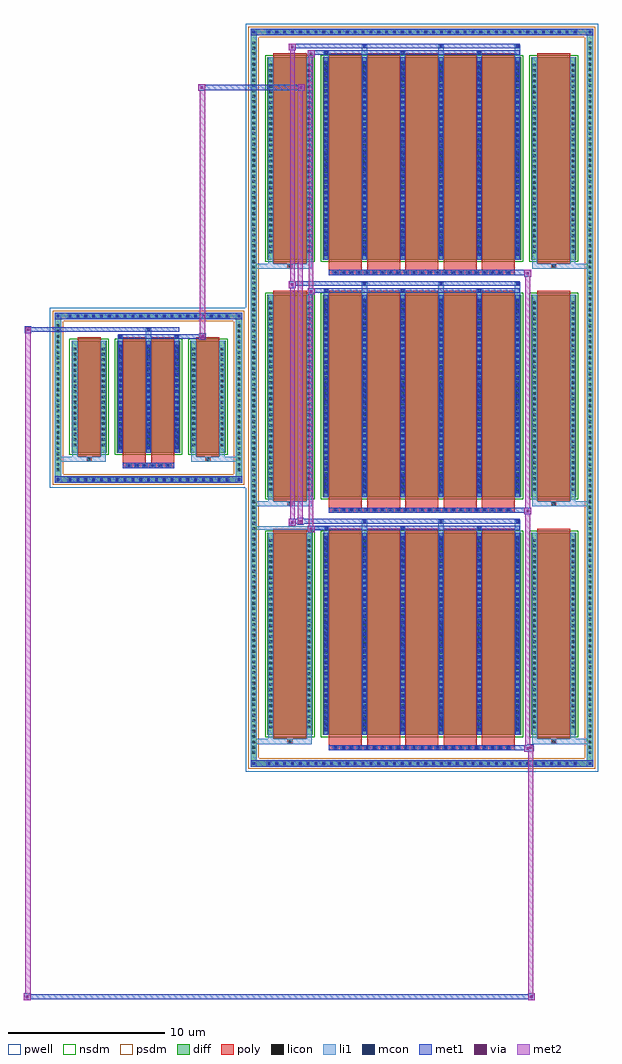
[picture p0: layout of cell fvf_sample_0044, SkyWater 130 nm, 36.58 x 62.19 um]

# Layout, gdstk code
import gdstk
lib = gdstk.Library(unit=1e-6, precision=1e-09)
def R(c, l, rs):  # rectangles x0, y0, x1, y1
    for r in rs: c.add(gdstk.rectangle(r[:2], r[2:], *l))
def A(c, l, x, y, w, h, nx, ny, dx, dy):  # array of equal rectangles
    R(c, l, [(x+i*dx, y+j*dy, x+i*dx+w, y+j*dy+h) for i in range(nx) for j in range(ny)])
def P(c, l, *ps):  # polygons
    for p in ps: c.add(gdstk.Polygon(p, *l))
pwell = (64, 44)
diff = (65, 20)
poly = (66, 20)
licon = (66, 44)
li1 = (67, 20)
mcon = (67, 44)
met1 = (68, 20)
via = (68, 44)
met2 = (69, 20)
nsdm = (93, 44)
psdm = (94, 20)

fvf_sample_0044 = lib.new_cell('fvf_sample_0044')
R(fvf_sample_0044, pwell, [(6.187,-23.816,28.643,23.816), (-6.287,-5.734,6.287,5.734)])
A(fvf_sample_0044, diff, 7.46, -23.506, 0.41, 0.41, 40, 2, 0.5, 46.602)
A(fvf_sample_0044, diff, 6.497, -22.815, 0.41, 0.41, 1, 134, 0, 0.34)
A(fvf_sample_0044, diff, 27.923, -22.815, 0.41, 0.41, 1, 134, 0, 0.34)
A(fvf_sample_0044, diff, 7.567, -21.485, 2.888, 12.898, 1, 3, 0, 15.144)
A(fvf_sample_0044, diff, 11.095, -21.485, 12.64, 12.898, 1, 3, 0, 15.144)
A(fvf_sample_0044, diff, 24.375, -21.485, 2.888, 12.898, 1, 3, 0, 15.144)
A(fvf_sample_0044, diff, -5.205, -5.424, 0.41, 0.41, 21, 2, 0.5, 10.438)
A(fvf_sample_0044, diff, -5.977, -4.795, 0.41, 0.41, 1, 28, 0, 0.34)
A(fvf_sample_0044, diff, 5.567, -4.795, 0.41, 0.41, 1, 28, 0, 0.34)
R(fvf_sample_0044, diff, [(7.46,-23.506,27.37,-23.096), (6.497,-22.815,6.907,22.815), (27.923,-22.815,28.333,22.815), (-5.205,-5.424,5.205,-5.014), (-5.977,-4.795,-5.567,4.795), (5.567,-4.795,5.977,4.795), (-4.907,-3.503,-2.661,3.619), (-2.021,-3.503,2.021,3.619), (2.661,-3.503,4.907,3.619), (-5.205,5.014,5.205,5.424), (7.46,23.096,27.37,23.506)])
P(fvf_sample_0044, diff, [(5.977,5.424),(-5.977,5.424),(-5.977,-5.014),(-5.567,-5.014),(-5.567,5.014),(5.567,5.014),(5.567,-5.014),(-5.567,-5.014),(-5.977,-5.014),(-5.977,-5.424),(5.977,-5.424)],
  [(28.333,23.506),(6.497,23.506),(6.497,-23.096),(6.907,-23.096),(6.907,23.096),(27.923,23.096),(27.923,-23.096),(6.907,-23.096),(6.497,-23.096),(6.497,-23.506),(28.333,-23.506)])
A(fvf_sample_0044, poly, 11.485, -22.466, 11.86, 0.33, 1, 3, 0, 15.144)
A(fvf_sample_0044, poly, 11.75, -22.466, 0.33, 0.33, 23, 3, 0.5, 15.144)
A(fvf_sample_0044, poly, 11.485, -22.136, 2.108, 0.401, 5, 3, 2.438, 15.144)
A(fvf_sample_0044, poly, 7.957, -21.735, 2.108, 13.398, 1, 3, 0, 15.144)
A(fvf_sample_0044, poly, 11.485, -21.735, 2.108, 13.398, 5, 3, 2.438, 15.144)
A(fvf_sample_0044, poly, 24.765, -21.735, 2.108, 13.398, 1, 3, 0, 15.144)
A(fvf_sample_0044, poly, -1.415, -4.484, 0.33, 0.33, 6, 1, 0.5, 0)
R(fvf_sample_0044, poly, [(8.846,-22.065,9.176,-21.735), (8.846,-22.065,9.176,-21.735), (25.654,-22.065,25.984,-21.735), (25.654,-22.065,25.984,-21.735), (8.846,-6.921,9.176,-6.591), (8.846,-6.921,9.176,-6.591), (25.654,-6.921,25.984,-6.591), (25.654,-6.921,25.984,-6.591), (-1.631,-4.484,1.631,-4.154), (-1.631,-4.154,-0.165,-3.753), (0.165,-4.154,1.631,-3.753), (-3.949,-4.083,-3.619,-3.753), (-3.949,-4.083,-3.619,-3.753), (3.619,-4.083,3.949,-3.753), (3.619,-4.083,3.949,-3.753), (-4.517,-3.753,-3.051,3.869), (-1.631,-3.753,-0.165,3.869), (0.165,-3.753,1.631,3.869), (3.051,-3.753,4.517,3.869), (8.846,8.223,9.176,8.553), (8.846,8.223,9.176,8.553), (25.654,8.223,25.984,8.553), (25.654,8.223,25.984,8.553)])
A(fvf_sample_0044, licon, 7.58, -23.386, 0.17, 0.17, 40, 2, 0.5, 46.602)
A(fvf_sample_0044, licon, 6.617, -22.695, 0.17, 0.17, 1, 134, 0, 0.34)
A(fvf_sample_0044, licon, 28.043, -22.695, 0.17, 0.17, 1, 134, 0, 0.34)
A(fvf_sample_0044, licon, 11.83, -22.386, 0.17, 0.17, 23, 3, 0.5, 15.144)
A(fvf_sample_0044, licon, 8.926, -21.985, 0.17, 0.17, 1, 3, 0, 15.144)
A(fvf_sample_0044, licon, 25.734, -21.985, 0.17, 0.17, 1, 3, 0, 15.144)
A(fvf_sample_0044, licon, 7.707, -21.071, 0.17, 0.17, 1, 36, 0, 0.34)
A(fvf_sample_0044, licon, 10.145, -21.071, 0.17, 0.17, 1, 36, 0, 0.34)
A(fvf_sample_0044, licon, 11.235, -21.071, 0.17, 0.17, 6, 36, 2.438, 0.34)
A(fvf_sample_0044, licon, 24.515, -21.071, 0.17, 0.17, 1, 36, 0, 0.34)
A(fvf_sample_0044, licon, 26.953, -21.071, 0.17, 0.17, 1, 36, 0, 0.34)
A(fvf_sample_0044, licon, 7.707, -5.927, 0.17, 0.17, 1, 36, 0, 0.34)
A(fvf_sample_0044, licon, 10.145, -5.927, 0.17, 0.17, 1, 36, 0, 0.34)
A(fvf_sample_0044, licon, 11.235, -5.927, 0.17, 0.17, 6, 36, 2.438, 0.34)
A(fvf_sample_0044, licon, 24.515, -5.927, 0.17, 0.17, 1, 36, 0, 0.34)
A(fvf_sample_0044, licon, 26.953, -5.927, 0.17, 0.17, 1, 36, 0, 0.34)
A(fvf_sample_0044, licon, -5.085, -5.304, 0.17, 0.17, 21, 2, 0.5, 10.438)
A(fvf_sample_0044, licon, -5.857, -4.675, 0.17, 0.17, 1, 28, 0, 0.34)
A(fvf_sample_0044, licon, 5.687, -4.675, 0.17, 0.17, 1, 28, 0, 0.34)
A(fvf_sample_0044, licon, -1.335, -4.404, 0.17, 0.17, 6, 1, 0.5, 0)
A(fvf_sample_0044, licon, -4.767, -3.087, 0.17, 0.17, 1, 19, 0, 0.34)
A(fvf_sample_0044, licon, -2.971, -3.087, 0.17, 0.17, 1, 19, 0, 0.34)
A(fvf_sample_0044, licon, -1.881, -3.087, 0.17, 0.17, 3, 19, 1.796, 0.34)
A(fvf_sample_0044, licon, 2.801, -3.087, 0.17, 0.17, 1, 19, 0, 0.34)
A(fvf_sample_0044, licon, 4.597, -3.087, 0.17, 0.17, 1, 19, 0, 0.34)
A(fvf_sample_0044, licon, 7.707, 9.217, 0.17, 0.17, 1, 36, 0, 0.34)
A(fvf_sample_0044, licon, 10.145, 9.217, 0.17, 0.17, 1, 36, 0, 0.34)
A(fvf_sample_0044, licon, 11.235, 9.217, 0.17, 0.17, 6, 36, 2.438, 0.34)
A(fvf_sample_0044, licon, 24.515, 9.217, 0.17, 0.17, 1, 36, 0, 0.34)
A(fvf_sample_0044, licon, 26.953, 9.217, 0.17, 0.17, 1, 36, 0, 0.34)
R(fvf_sample_0044, licon, [(-3.869,-4.003,-3.699,-3.833), (3.699,-4.003,3.869,-3.833)])
A(fvf_sample_0044, li1, 7.5, -23.466, 0.33, 0.33, 40, 2, 0.5, 46.602)
A(fvf_sample_0044, li1, 6.537, -22.775, 0.33, 0.33, 1, 134, 0, 0.34)
A(fvf_sample_0044, li1, 27.963, -22.775, 0.33, 0.33, 1, 134, 0, 0.34)
A(fvf_sample_0044, li1, 11.75, -22.466, 0.33, 0.33, 23, 3, 0.5, 15.144)
A(fvf_sample_0044, li1, 6.497, -22.065, 2.349, 0.33, 1, 3, 0, 15.144)
A(fvf_sample_0044, li1, 7.627, -22.065, 0.33, 0.58, 1, 3, 0, 15.144)
A(fvf_sample_0044, li1, 7.627, -22.065, 1.219, 0.33, 1, 3, 0, 15.144)
A(fvf_sample_0044, li1, 8.846, -22.065, 0.33, 0.33, 1, 3, 0, 15.144)
A(fvf_sample_0044, li1, 9.176, -22.065, 1.219, 0.33, 1, 3, 0, 15.144)
A(fvf_sample_0044, li1, 10.065, -22.065, 0.33, 0.58, 1, 3, 0, 15.144)
A(fvf_sample_0044, li1, 24.435, -22.065, 0.33, 0.58, 1, 3, 0, 15.144)
A(fvf_sample_0044, li1, 24.435, -22.065, 1.219, 0.33, 1, 3, 0, 15.144)
A(fvf_sample_0044, li1, 25.654, -22.065, 0.33, 0.33, 1, 3, 0, 15.144)
A(fvf_sample_0044, li1, 25.654, -22.065, 2.679, 0.33, 1, 3, 0, 15.144)
A(fvf_sample_0044, li1, 25.984, -22.065, 1.219, 0.33, 1, 3, 0, 15.144)
A(fvf_sample_0044, li1, 26.873, -22.065, 0.33, 0.58, 1, 3, 0, 15.144)
A(fvf_sample_0044, li1, 7.627, -21.485, 0.33, 12.898, 1, 3, 0, 15.144)
A(fvf_sample_0044, li1, 10.065, -21.485, 0.33, 12.898, 1, 3, 0, 15.144)
A(fvf_sample_0044, li1, 11.155, -21.485, 0.33, 12.898, 6, 3, 2.438, 15.144)
A(fvf_sample_0044, li1, 24.435, -21.485, 0.33, 12.898, 1, 3, 0, 15.144)
A(fvf_sample_0044, li1, 26.873, -21.485, 0.33, 12.898, 1, 3, 0, 15.144)
A(fvf_sample_0044, li1, 11.235, -21.241, 0.17, 0.17, 6, 35, 2.438, 0.36)
A(fvf_sample_0044, li1, 11.235, -21.241, 0.17, 12.41, 6, 3, 2.438, 15.144)
A(fvf_sample_0044, li1, 7.627, -21.151, 0.33, 0.33, 1, 36, 0, 0.34)
A(fvf_sample_0044, li1, 10.065, -21.151, 0.33, 0.33, 1, 36, 0, 0.34)
A(fvf_sample_0044, li1, 11.155, -21.151, 0.33, 0.33, 6, 36, 2.438, 0.34)
A(fvf_sample_0044, li1, 24.435, -21.151, 0.33, 0.33, 1, 36, 0, 0.34)
A(fvf_sample_0044, li1, 26.873, -21.151, 0.33, 0.33, 1, 36, 0, 0.34)
A(fvf_sample_0044, li1, 11.155, -8.587, 0.33, 0.375, 3, 3, 4.876, 15.144)
A(fvf_sample_0044, li1, 13.593, -8.587, 0.33, 0.805, 3, 3, 4.876, 15.144)
A(fvf_sample_0044, li1, 11.235, -8.382, 0.17, 0.17, 3, 3, 4.876, 15.144)
A(fvf_sample_0044, li1, 13.673, -7.952, 0.17, 0.17, 3, 3, 4.876, 15.144)
A(fvf_sample_0044, li1, 11.235, -6.097, 0.17, 0.17, 6, 35, 2.438, 0.36)
A(fvf_sample_0044, li1, 7.627, -6.007, 0.33, 0.33, 1, 36, 0, 0.34)
A(fvf_sample_0044, li1, 10.065, -6.007, 0.33, 0.33, 1, 36, 0, 0.34)
A(fvf_sample_0044, li1, 11.155, -6.007, 0.33, 0.33, 6, 36, 2.438, 0.34)
A(fvf_sample_0044, li1, 24.435, -6.007, 0.33, 0.33, 1, 36, 0, 0.34)
A(fvf_sample_0044, li1, 26.873, -6.007, 0.33, 0.33, 1, 36, 0, 0.34)
A(fvf_sample_0044, li1, -5.165, -5.384, 0.33, 0.33, 21, 2, 0.5, 10.438)
A(fvf_sample_0044, li1, -5.937, -4.755, 0.33, 0.33, 1, 28, 0, 0.34)
A(fvf_sample_0044, li1, 5.607, -4.755, 0.33, 0.33, 1, 28, 0, 0.34)
A(fvf_sample_0044, li1, -1.415, -4.484, 0.33, 0.33, 6, 1, 0.5, 0)
A(fvf_sample_0044, li1, -1.961, -3.503, 0.33, 7.122, 3, 1, 1.796, 0)
A(fvf_sample_0044, li1, -1.881, -3.267, 0.17, 0.17, 3, 19, 1.796, 0.36)
A(fvf_sample_0044, li1, -1.881, -3.267, 0.17, 6.65, 3, 1, 1.796, 0)
A(fvf_sample_0044, li1, -4.847, -3.167, 0.33, 0.33, 1, 19, 0, 0.34)
A(fvf_sample_0044, li1, -3.051, -3.167, 0.33, 0.33, 1, 19, 0, 0.34)
A(fvf_sample_0044, li1, -1.961, -3.167, 0.33, 0.33, 3, 19, 1.796, 0.34)
A(fvf_sample_0044, li1, 2.721, -3.167, 0.33, 0.33, 1, 19, 0, 0.34)
A(fvf_sample_0044, li1, 4.517, -3.167, 0.33, 0.33, 1, 19, 0, 0.34)
A(fvf_sample_0044, li1, 11.235, 9.047, 0.17, 0.17, 6, 35, 2.438, 0.36)
A(fvf_sample_0044, li1, 7.627, 9.137, 0.33, 0.33, 1, 36, 0, 0.34)
A(fvf_sample_0044, li1, 10.065, 9.137, 0.33, 0.33, 1, 36, 0, 0.34)
A(fvf_sample_0044, li1, 11.155, 9.137, 0.33, 0.33, 6, 36, 2.438, 0.34)
A(fvf_sample_0044, li1, 24.435, 9.137, 0.33, 0.33, 1, 36, 0, 0.34)
A(fvf_sample_0044, li1, 26.873, 9.137, 0.33, 0.33, 1, 36, 0, 0.34)
R(fvf_sample_0044, li1, [(6.497,-23.506,6.907,-23.096), (27.923,-23.506,28.333,-23.096), (7.5,-23.466,27.33,-23.136), (6.617,-23.386,6.787,-23.216), (6.617,-23.386,6.787,-23.216), (28.043,-23.386,28.213,-23.216), (28.043,-23.386,28.213,-23.216), (6.497,-23.096,6.907,23.096), (27.923,-23.096,28.333,23.096), (11.175,-8.442,11.465,-8.152), (6.497,-8.397,11.175,-8.197), (11.235,-8.382,11.405,-8.212), (-5.977,-5.424,-5.567,-5.014), (5.567,-5.424,5.977,-5.014), (-5.165,-5.384,5.165,-5.054), (-5.857,-5.304,-5.687,-5.134), (-5.857,-5.304,-5.687,-5.134), (5.687,-5.304,5.857,-5.134), (5.687,-5.304,5.857,-5.134), (-5.977,-5.014,-5.567,5.014), (5.567,-5.014,5.977,5.014), (-5.977,-4.083,-3.949,-3.753), (-4.847,-4.083,-3.949,-3.753), (-4.847,-4.083,-4.517,-3.503), (-3.949,-4.083,-3.619,-3.753), (-3.619,-4.083,-2.721,-3.753), (-3.051,-4.083,-2.721,-3.503), (2.721,-4.083,3.619,-3.753), (2.721,-4.083,3.051,-3.503), (3.619,-4.083,3.949,-3.753), (3.619,-4.083,5.977,-3.753), (3.949,-4.083,4.847,-3.753), (4.517,-4.083,4.847,-3.503), (-4.847,-3.503,-4.517,3.619), (-3.051,-3.503,-2.721,3.619), (2.721,-3.503,3.051,3.619), (4.517,-3.503,4.847,3.619), (-1.961,3.619,-1.631,3.994), (-0.165,3.619,0.165,4.424), (1.631,3.619,1.961,3.994), (-1.881,3.824,-1.711,3.994), (1.711,3.824,1.881,3.994), (-0.085,4.254,0.085,4.424), (-5.977,5.014,-5.567,5.424), (5.567,5.014,5.977,5.424), (-5.165,5.054,5.165,5.384), (-5.857,5.134,-5.687,5.304), (-5.857,5.134,-5.687,5.304), (5.687,5.134,5.857,5.304), (5.687,5.134,5.857,5.304), (6.497,23.096,6.907,23.506), (27.923,23.096,28.333,23.506), (7.5,23.136,27.33,23.466), (6.617,23.216,6.787,23.386), (6.617,23.216,6.787,23.386), (28.043,23.216,28.213,23.386), (28.043,23.216,28.213,23.386)])
A(fvf_sample_0044, mcon, 7.58, -23.386, 0.17, 0.17, 40, 2, 0.5, 46.602)
A(fvf_sample_0044, mcon, 11.83, -22.386, 0.17, 0.17, 23, 3, 0.5, 15.144)
A(fvf_sample_0044, mcon, 11.235, -21.241, 0.17, 0.17, 6, 35, 2.438, 0.36)
A(fvf_sample_0044, mcon, 11.235, -8.382, 0.17, 0.17, 3, 3, 4.876, 15.144)
A(fvf_sample_0044, mcon, 13.673, -7.952, 0.17, 0.17, 3, 3, 4.876, 15.144)
A(fvf_sample_0044, mcon, 11.235, -6.097, 0.17, 0.17, 6, 35, 2.438, 0.36)
A(fvf_sample_0044, mcon, -5.085, -5.304, 0.17, 0.17, 21, 2, 0.5, 10.438)
A(fvf_sample_0044, mcon, -1.335, -4.404, 0.17, 0.17, 6, 1, 0.5, 0)
A(fvf_sample_0044, mcon, -1.881, -3.267, 0.17, 0.17, 3, 19, 1.796, 0.36)
A(fvf_sample_0044, mcon, 11.235, 9.047, 0.17, 0.17, 6, 35, 2.438, 0.36)
R(fvf_sample_0044, mcon, [(6.617,-23.386,6.787,-23.216), (28.043,-23.386,28.213,-23.216), (11.235,-8.382,11.405,-8.212), (-5.857,-5.304,-5.687,-5.134), (5.687,-5.304,5.857,-5.134), (-1.881,3.824,-1.711,3.994), (1.711,3.824,1.881,3.994), (-0.085,4.254,0.085,4.424), (-5.857,5.134,-5.687,5.304), (5.687,5.134,5.857,5.304), (6.617,23.216,6.787,23.386), (28.043,23.216,28.213,23.386)])
A(fvf_sample_0044, met1, 7.52, -23.446, 0.29, 0.29, 40, 2, 0.5, 46.602)
A(fvf_sample_0044, met1, 11.485, -22.466, 11.86, 0.33, 1, 3, 0, 15.144)
A(fvf_sample_0044, met1, 11.77, -22.446, 0.29, 0.29, 23, 3, 0.5, 15.144)
A(fvf_sample_0044, met1, 11.175, -21.485, 0.29, 12.898, 6, 3, 2.438, 15.144)
A(fvf_sample_0044, met1, 11.175, -21.301, 0.29, 0.29, 6, 35, 2.438, 0.36)
A(fvf_sample_0044, met1, 11.175, -8.442, 0.29, 0.29, 3, 3, 4.876, 15.144)
A(fvf_sample_0044, met1, 13.613, -8.012, 0.29, 0.29, 3, 3, 4.876, 15.144)
A(fvf_sample_0044, met1, 11.175, -6.157, 0.29, 0.29, 6, 35, 2.438, 0.36)
A(fvf_sample_0044, met1, -5.145, -5.364, 0.29, 0.29, 21, 2, 0.5, 10.438)
A(fvf_sample_0044, met1, -1.395, -4.464, 0.29, 0.29, 6, 1, 0.5, 0)
A(fvf_sample_0044, met1, -1.941, -3.503, 0.29, 7.122, 3, 1, 1.796, 0)
A(fvf_sample_0044, met1, -1.941, -3.327, 0.29, 0.29, 3, 19, 1.796, 0.36)
A(fvf_sample_0044, met1, 11.175, 8.987, 0.29, 0.29, 6, 35, 2.438, 0.36)
R(fvf_sample_0044, met1, [(-7.94,-38.372,-7.51,-37.942), (24.18,-38.372,24.61,-37.942), (-7.94,-38.322,24.61,-37.992), (-7.94,-37.992,-7.51,-37.942), (24.18,-37.992,24.61,-37.942), (6.497,-23.506,6.907,-23.096), (6.497,-23.506,6.907,-23.096), (6.907,-23.506,27.923,-23.096), (27.923,-23.506,28.333,-23.096), (27.923,-23.506,28.333,-23.096), (6.557,-23.446,6.847,-23.156), (27.983,-23.446,28.273,-23.156), (23.945,-22.566,24.375,-22.136), (24.13,-22.516,24.56,-22.086), (23.345,-22.466,24.13,-22.136), (23.345,-22.466,24.375,-22.136), (10.145,-8.582,10.575,-8.152), (10.145,-8.442,11.175,-8.152), (11.175,-8.442,11.465,-8.152), (11.175,-8.442,23.655,-8.152), (8.945,-8.152,9.375,-7.722), (9.46,-8.082,9.89,-7.652), (8.945,-8.012,11.175,-7.722), (9.89,-8.012,11.175,-7.722), (11.175,-8.012,23.655,-7.722), (23.945,-7.422,24.375,-6.992), (23.945,-7.422,24.375,-6.992), (23.345,-7.322,24.375,-6.992), (23.345,-7.322,24.375,-6.992), (-5.977,-5.424,-5.567,-5.014), (-5.977,-5.424,-5.567,-5.014), (-5.567,-5.424,5.567,-5.014), (5.567,-5.424,5.977,-5.014), (5.567,-5.424,5.977,-5.014), (-5.917,-5.364,-5.627,-5.074), (5.627,-5.364,5.917,-5.074), (-1.631,-4.484,1.631,-4.154), (3.226,3.694,3.656,4.124), (-1.941,3.764,-1.651,4.054), (-1.941,3.764,1.941,4.054), (1.651,3.764,1.941,4.054), (1.941,3.764,3.226,4.054), (-7.89,4.124,-7.46,4.554), (-7.46,4.194,-1.941,4.484), (-1.941,4.194,1.941,4.484), (-0.145,4.194,0.145,4.484), (-5.977,5.014,-5.567,5.424), (-5.977,5.014,-5.567,5.424), (-5.567,5.014,5.567,5.424), (5.567,5.014,5.977,5.424), (5.567,5.014,5.977,5.424), (-5.917,5.074,-5.627,5.364), (5.627,5.074,5.917,5.364), (10.145,6.562,10.575,6.992), (10.145,6.562,10.575,6.992), (10.145,6.702,11.175,6.992), (10.145,6.702,11.175,6.992), (11.175,6.702,23.655,6.992), (8.945,6.992,9.375,7.422), (8.945,6.992,9.375,7.422), (8.945,7.132,11.175,7.422), (8.945,7.132,11.175,7.422), (11.175,7.132,23.655,7.422), (23.945,7.722,24.375,8.152), (23.345,7.822,24.375,8.152), (3.176,19.55,3.606,19.98), (9.51,19.55,9.94,19.98), (3.176,19.6,9.94,19.93), (3.176,19.93,3.606,19.98), (9.51,19.93,9.94,19.98), (10.145,21.706,10.575,22.136), (10.145,21.846,11.175,22.136), (11.175,21.846,23.655,22.136), (8.945,22.136,9.375,22.566), (8.945,22.276,11.175,22.566), (11.175,22.276,23.655,22.566), (6.497,23.096,6.907,23.506), (6.497,23.096,6.907,23.506), (6.907,23.096,27.923,23.506), (27.923,23.096,28.333,23.506), (27.923,23.096,28.333,23.506), (6.557,23.156,6.847,23.446), (27.983,23.156,28.273,23.446)])
R(fvf_sample_0044, via, [(-7.8,-38.232,-7.65,-38.082), (24.32,-38.232,24.47,-38.082), (24.085,-22.426,24.235,-22.276), (24.27,-22.376,24.42,-22.226), (10.285,-8.442,10.435,-8.292), (9.085,-8.012,9.235,-7.862), (9.6,-7.942,9.75,-7.792), (24.085,-7.282,24.235,-7.132), (24.085,-7.282,24.235,-7.132), (3.366,3.834,3.516,3.984), (-7.75,4.264,-7.6,4.414), (10.285,6.702,10.435,6.852), (10.285,6.702,10.435,6.852), (9.085,7.132,9.235,7.282), (9.085,7.132,9.235,7.282), (24.085,7.862,24.235,8.012), (3.316,19.69,3.466,19.84), (9.65,19.69,9.8,19.84), (10.285,21.846,10.435,21.996), (9.085,22.276,9.235,22.426)])
R(fvf_sample_0044, met2, [(-7.94,-38.372,-7.51,-37.942), (-7.84,-38.372,-7.51,4.174), (24.18,-38.372,24.61,-37.942), (24.18,-38.372,24.51,-22.466), (-7.89,-38.322,-7.56,-37.992), (24.23,-38.322,24.56,-37.992), (23.945,-22.566,24.375,-22.136), (23.995,-22.566,24.325,-6.992), (24.325,-22.566,24.375,-22.136), (23.995,-22.516,24.325,-22.186), (24.18,-22.466,24.51,-22.136), (10.145,-8.582,10.575,-8.152), (10.215,-8.582,10.505,6.992), (10.505,-8.582,10.575,-8.152), (10.195,-8.532,10.525,-8.202), (8.945,-8.152,9.375,-7.722), (9.015,-8.152,9.305,7.422), (9.305,-8.152,9.375,-7.722), (8.995,-8.102,9.325,-7.772), (9.51,-8.032,9.84,-7.702), (9.51,-7.702,9.84,19.98), (23.945,-7.422,24.375,-6.992), (23.945,-7.422,24.375,-6.992), (23.995,-7.422,24.325,8.152), (24.325,-7.422,24.375,-6.992), (24.325,-7.422,24.375,-6.992), (23.995,-7.372,24.325,-7.042), (23.995,-7.372,24.325,-7.042), (3.276,3.744,3.606,4.074), (3.276,4.074,3.606,19.98), (-7.84,4.174,-7.51,4.504), (10.145,6.562,10.575,6.992), (10.145,6.562,10.575,6.992), (10.215,6.562,10.505,22.136), (10.505,6.562,10.575,6.992), (10.505,6.562,10.575,6.992), (10.195,6.612,10.525,6.942), (10.195,6.612,10.525,6.942), (8.945,6.992,9.375,7.422), (8.945,6.992,9.375,7.422), (9.015,6.992,9.305,22.566), (9.305,6.992,9.375,7.422), (9.305,6.992,9.375,7.422), (8.995,7.042,9.325,7.372), (8.995,7.042,9.325,7.372), (23.945,7.722,24.375,8.152), (24.325,7.722,24.375,8.152), (23.995,7.772,24.325,8.102), (3.176,19.55,3.606,19.98), (9.51,19.55,9.94,19.98), (3.226,19.6,3.556,19.93), (9.56,19.6,9.89,19.93), (10.145,21.706,10.575,22.136), (10.505,21.706,10.575,22.136), (10.195,21.756,10.525,22.086), (8.945,22.136,9.375,22.566), (9.305,22.136,9.375,22.566), (8.995,22.186,9.325,22.516)])
A(fvf_sample_0044, nsdm, 7.437, -21.615, 3.148, 13.158, 1, 3, 0, 15.144)
A(fvf_sample_0044, nsdm, 10.965, -21.615, 12.9, 13.158, 1, 3, 0, 15.144)
A(fvf_sample_0044, nsdm, 24.245, -21.615, 3.148, 13.158, 1, 3, 0, 15.144)
R(fvf_sample_0044, nsdm, [(-5.037,-3.633,-2.531,3.749), (-2.151,-3.633,2.151,3.749), (2.531,-3.633,5.037,3.749)])
P(fvf_sample_0044, psdm, [(6.107,5.554),(-6.107,5.554),(-6.107,-4.884),(-5.437,-4.884),(-5.437,4.884),(5.437,4.884),(5.437,-4.884),(-5.437,-4.884),(-6.107,-4.884),(-6.107,-5.554),(6.107,-5.554)],
  [(28.463,23.636),(6.367,23.636),(6.367,-22.966),(7.037,-22.966),(7.037,22.966),(27.793,22.966),(27.793,-22.966),(7.037,-22.966),(6.367,-22.966),(6.367,-23.636),(28.463,-23.636)])

lib.write_gds('fvf_sample_0044.gds')
